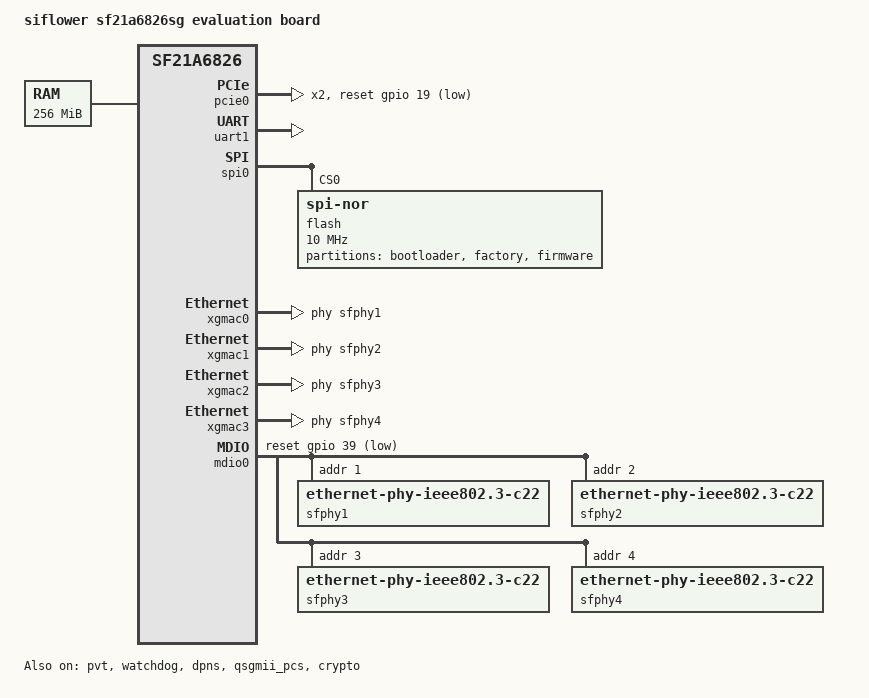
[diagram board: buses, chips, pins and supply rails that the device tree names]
/*
 * Copyright 2022 SiFlower Corporation.
 */

/dts-v1/;
#include "sf21a6826-fullmask.dtsi"

/ {
	model = "siflower sf21a6826sg evaluation board";
	compatible = "siflower,sf21a6826-6826sg", "siflower,sf21a6826";

	chosen {
		stdout-path = "serial1:115200n8";
	};

	memory@20000000 {
		device_type = "memory";
		reg = <0x0 0x20000000 0x0 0x10000000>;
	};
};

&pvt {
	status = "okay";
};

&pcie0 {
	reset-gpios = <&gpio 19 GPIO_ACTIVE_LOW>;
	reset-ms = <100>;
	num-lanes = <2>;
	lane-mode = <1>;
	status = "okay";

	pcie@0,0 {
		reg = <0x0000 0 0 0 0>;
		#address-cells = <3>;
		#size-cells = <2>;

		wifi@0,0 {
			reg = <0x0 0 0 0 0>;
			nvmem-cells = <&mtd_mac_address>, <&mtd_wifi_version>, <&mtd_wifi_info>, <&mtd_rssi_offset>, <&mtd_refpower>, <&mtd_calipower>;
			nvmem-cell-names = "mac-address", "wifi-version", "wifi-info", "rssi-offset", "refpower", "calipower";
			mac-address-increment = <2>;
		};

		wifi@0,1 {
			reg = <0x100 0 0 0 0>;
			nvmem-cells = <&mtd_mac_address>, <&mtd_wifi_version>, <&mtd_wifi_info>, <&mtd_rssi_offset>, <&mtd_refpower>, <&mtd_calipower>;
			nvmem-cell-names = "mac-address", "wifi-version", "wifi-info", "rssi-offset", "refpower", "calipower";
			mac-address-increment = <6>;
		};
	};
};

&pcie1 {
	reset-ms = <100>;
	num-lanes = <1>;
	lane-mode = <0>;
	status = "disabled";
};

&watchdog {
	status = "okay";
};

&uart1 {
	status = "okay";
};

&spi0 {
	status = "okay";
	flash@0 {
		compatible = "jedec,spi-nor";
		reg = <0>;
		spi-max-frequency = <10000000>;
		spi-tx-bus-width = <4>;
		spi-rx-bus-width = <4>;
		#address-cells = <1>;
		#size-cells = <1>;
	        partitions {
	            compatible = "fixed-partitions";
		        #address-cells = <1>;
			    #size-cells = <1>;

				partition0@0 {
					label = "bootloader";
					reg = <0x0 0x90000>;
					read-only;
				};
				factory:partition1@90000 {
					label = "factory";
					reg = <0x90000 0x10000>;
				};
				partition2@a0000 {
					label = "firmware";
					reg = <0xa0000 (-1)>;
					compatible = "denx,fit";
				};
			};
	};
};

&i2c0 {
	status = "disabled";
};

&xgmac0 {
	status = "okay";
	phy-handle = <&sfphy1>;
	nvmem-cells = <&mtd_mac_address>;
	nvmem-cell-names = "mac-address";
};

&xgmac1 {
	status = "okay";
	phy-handle = <&sfphy2>;
	nvmem-cells = <&mtd_mac_address>;
	nvmem-cell-names = "mac-address";
};

&xgmac2 {
	status = "okay";
	phy-handle = <&sfphy3>;
	nvmem-cells = <&mtd_mac_address>;
	nvmem-cell-names = "mac-address";
};

&xgmac3 {
	status = "okay";
	phy-handle = <&sfphy4>;
	nvmem-cells = <&mtd_mac_address>;
	nvmem-cell-names = "mac-address";
	mac-address-increment = <1>;
};


&mdio0 {
	reset-gpios = <&gpio 39 GPIO_ACTIVE_LOW>;
	reset-delay-us = <10000>;
	reset-post-delay-us = <100000>;

	sfphy1: ethernet-phy@1 {
		compatible = "ethernet-phy-ieee802.3-c22";
		reg = <0x1>;
	};

	sfphy2: ethernet-phy@2 {
		compatible = "ethernet-phy-ieee802.3-c22";
		reg = <0x2>;
	};

	sfphy3: ethernet-phy@3 {
		compatible = "ethernet-phy-ieee802.3-c22";
		reg = <0x3>;
	};

	sfphy4: ethernet-phy@4 {
		compatible = "ethernet-phy-ieee802.3-c22";
		reg = <0x4>;
	};
};

&dpns {
	status = "okay";
};

&edma {
	status = "okay";
};

&qsgmii_pcs {
	status = "okay";
};

&crypto {
	status = "okay";
};

#include "sf21a6826-factory.dtsi"
